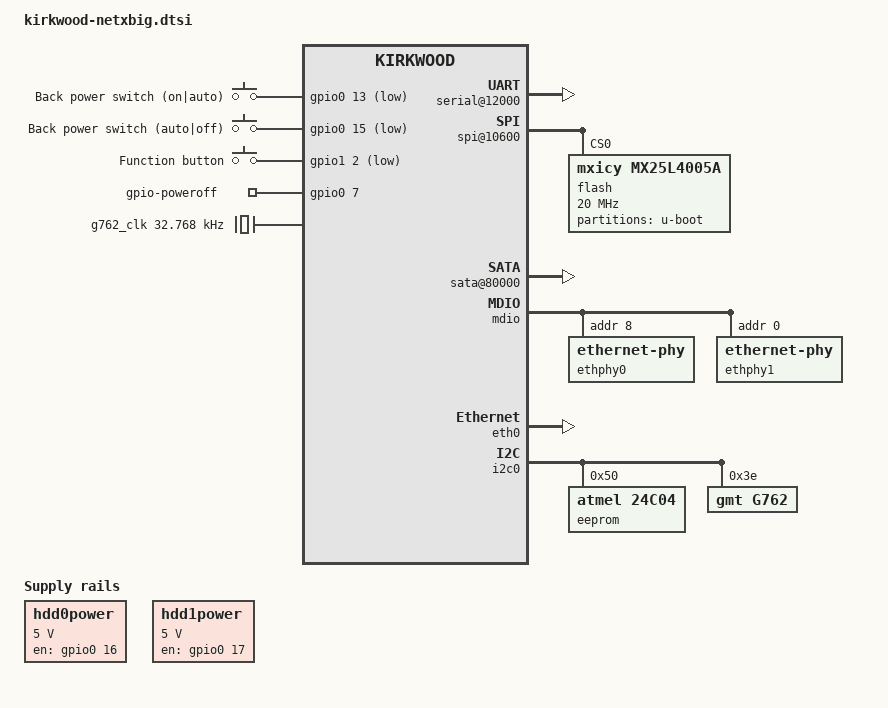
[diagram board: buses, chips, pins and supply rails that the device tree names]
/*
 * Device Tree common file for LaCie 2Big and 5Big Network v2
 *
 * Copyright (C) 2014
 *
 * Andrew Lunn <andrew@lunn.ch>
 *
 * Based on netxbig_v2-setup.c,
 * Copyright (C) 2010 Simon Guinot <sguinot@lacie.com>
 *
 * This file is licensed under the terms of the GNU General Public
 * License version 2.  This program is licensed "as is" without any
 * warranty of any kind, whether express or implied.
*/

#include "kirkwood.dtsi"
#include "kirkwood-6281.dtsi"

/ {
	chosen {
		bootargs = "console=ttyS0,115200n8";
		stdout-path = &uart0;
	};

	ocp@f1000000 {
		serial@12000 {
			status = "okay";
		};

		spi@10600 {
			status = "okay";

			flash@0 {
				#address-cells = <1>;
				#size-cells = <1>;
				compatible = "mxicy,mx25l4005a";
				reg = <0>;
				spi-max-frequency = <20000000>;
				mode = <0>;

				partition@0 {
					reg = <0x0 0x80000>;
					label = "u-boot";
				};
			};
		};

		sata@80000 {
			status = "okay";
			nr-ports = <2>;
		};

	};

	gpio-keys {
		compatible = "gpio-keys";
		#address-cells = <1>;
		#size-cells = <0>;

		/*
		 * button@1 and button@2 represent a three position rocker
		 * switch. Thus the conventional KEY_POWER does not fit
		 */
		button@1 {
			label = "Back power switch (on|auto)";
			linux,code = <KEY_ESC>;
			linux,input-type = <5>;
			gpios = <&gpio0 13 GPIO_ACTIVE_LOW>;
		};
		button@2 {
			label = "Back power switch (auto|off)";
			linux,code = <KEY_1>;
			linux,input-type = <5>;
			gpios = <&gpio0 15 GPIO_ACTIVE_LOW>;
		};
		button@3 {
			label = "Function button";
			linux,code = <KEY_OPTION>;
			gpios = <&gpio1 2 GPIO_ACTIVE_LOW>;
		};

	};

	gpio-poweroff {
		compatible = "gpio-poweroff";
		gpios = <&gpio0 7 GPIO_ACTIVE_HIGH>;
	};

	regulators: regulators {
		status = "okay";
		compatible = "simple-bus";
		#address-cells = <1>;
		#size-cells = <0>;
		pinctrl-names = "default";

		regulator@1 {
			compatible = "regulator-fixed";
			reg = <1>;
			regulator-name = "hdd0power";
			regulator-min-microvolt = <5000000>;
			regulator-max-microvolt = <5000000>;
			enable-active-high;
			regulator-always-on;
			regulator-boot-on;
			gpio = <&gpio0 16 GPIO_ACTIVE_HIGH>;
		};

		regulator@2 {
			compatible = "regulator-fixed";
			reg = <2>;
			regulator-name = "hdd1power";
			regulator-min-microvolt = <5000000>;
			regulator-max-microvolt = <5000000>;
			enable-active-high;
			regulator-always-on;
			regulator-boot-on;
			gpio = <&gpio0 17 GPIO_ACTIVE_HIGH>;
		};

		clocks {
		       g762_clk: g762-oscillator {
				 compatible = "fixed-clock";
				 #clock-cells = <0>;
				 clock-frequency = <32768>;
		       };
		};
	};
};

&mdio {
	status = "okay";

	ethphy0: ethernet-phy@0 {
		reg = <8>;
	};

	ethphy1: ethernet-phy@1 {
		reg = <0>;
	};
};

&eth0 {
	status = "okay";
	ethernet0-port@0 {
		phy-handle = <&ethphy0>;
	};
};

&pinctrl {
	pinctrl-names = "default";

	pmx_button_function: pmx-button-function {
		marvell,pins = "mpp34";
		marvell,function = "gpio";
	};
	pmx_button_power_off: pmx-button-power-off {
		marvell,pins = "mpp15";
		marvell,function = "gpio";
	};
	pmx_button_power_on: pmx-button-power-on {
		marvell,pins = "mpp13";
		marvell,function = "gpio";
	};
};

&i2c0 {
	status = "okay";

	eeprom@50 {
		compatible = "atmel,24c04";
		pagesize = <16>;
		reg = <0x50>;
	};

	g762@3e {
		compatible = "gmt,g762";
		reg = <0x3e>;
		clocks = <&g762_clk>;
	};
};
